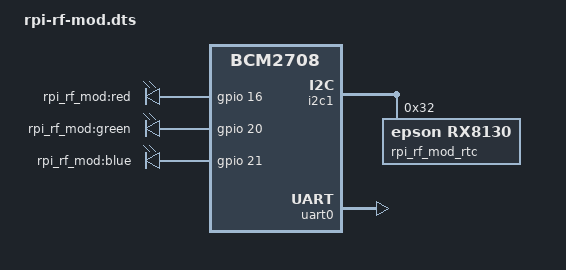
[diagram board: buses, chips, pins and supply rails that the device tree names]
/dts-v1/;
/plugin/;

/*
** Device Tree Overlay for eQ-3 RPI-RF-MOD and
** HM-MOD-RPI-PCB for RaspberryPi
**
** Copyright (c) 2018-2023 Jens Maus <mail@jens-maus.de>
** Licensed under Apache 2.0
**
*/

/ {
    compatible = "brcm,bcm2708";

    // fragment to ensure we have the correct gpio pin
    // setup for the RPI-RF-MOD
    fragment@0 {
        target = <&gpio>;
        __overlay__ {
            rpi_rf_mod_pins: rpi_rf_mod_pins {
                brcm,pins = <19 18 12 16 20 21>; // 19=reset, 18=reset (HM-MOD), 12=button, 16=red, 20=green, 21=blue
                brcm,pull = <0 0 2 0 0 0>; // 19,18=no-pullup, 12=pullup, 16,20,21=no-pullup
                brcm,function = <0 0 0 1 1 1>; // 19,18,12=input, 16,20,21=output
            };
        };
    };

    // fragment to define dedicated led nodes for
    // each separate led supported by the RPI-RF-MOD
    fragment@1 {
        target = <&leds>;
        __overlay__ {
            pinctrl-names = "default";
            pinctrl-0 = <&rpi_rf_mod_pins>;
            rpi_rf_mod_red: rpi_rf_mod_red {
                label = "rpi_rf_mod:red";
                gpios = <&gpio 16 0>;
                default-state = "keep";
                linux,default-trigger = "none";
            };
            rpi_rf_mod_green: rpi_rf_mod_green {
                label = "rpi_rf_mod:green";
                gpios = <&gpio 20 0>;
                default-state = "keep";
                linux,default-trigger = "none";
            };
            rpi_rf_mod_blue: rpi_rf_mod_blue {
                label = "rpi_rf_mod:blue";
                gpios = <&gpio 21 0>;
                default-state = "keep";
                linux,default-trigger = "none";
            };
        };
    };

    // fragment to define settings for the rx8130 RTC clock
    // of the RPI-RF-MOD
    fragment@2 {
        target = <&i2c1>;
        __overlay__ {
            #address-cells = <1>;
            #size-cells = <0>;
            status = "okay";

            rpi_rf_mod_rtc: rx8130@32 {
                compatible = "epson,rx8130";
                reg = <0x32>;
                status = "okay";
                aux-voltage-chargeable = <1>;
            };
        };
    };

    // fragment to define uart/serial dependencies for
    // generic_raw_uart
    fragment@3 {
        target = <&uart0>;
        __overlay__ {
            compatible = "pivccu,pl011";
            status = "okay";
            pivccu,reset-gpios = <&gpio 18 0>, <&gpio 19 0>; // HM-MOD-RPI-PCB, RPI-RF-MOD
            pivccu,led-gpios = <&gpio 16 0>, <&gpio 20 0>, <&gpio 21 0>; // RPI-RF-MOD
            pivccu,rtc = <&rpi_rf_mod_rtc>;       // RPI-RF-MOD
        };
    };

    // fragment to make sure that stdout-path under chosen
    // is empty so that the above uart0 fragment does not
    // interfere with u-boot trying to access serial drivers.
    fragment@4 {
        target = <&chosen>;
        __overlay__ {
            stdout-path = "";
        };
    };
};
